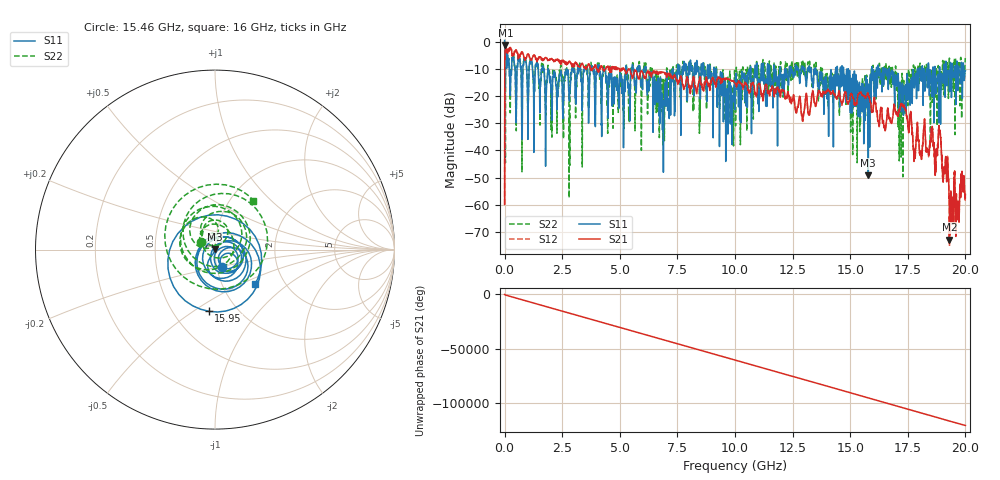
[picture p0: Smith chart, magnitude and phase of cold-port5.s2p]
! MS46122B
! 2250307/22442219
! 2/18/2026 9:30:58 AM
! C:\USERS\SPARKY\DOCUMENTS\VNA_DATA\FEB18_2026\COLD-PORT5.S2P
! CHANNEL.1
! TR.MEASUREMENT
! RAW.DATA
# GHZ S RI R 50.0
! FREQ.GHZ  S11RE  S11IM  S21RE  S21IM  S12RE  S12IM  S22RE  S22IM
!; PortSelection: Port_12
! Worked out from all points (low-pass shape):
!   10001 points, 1 MHz to 20 GHz, reference 50 ohm
!   highest |S21| = -1.28 dB at 33 MHz (marker M1); lowest = -72.7 dB at 19.31 GHz (marker M2)
!   |S21| within 3 dB of the highest: 131.4 MHz to 315.7 MHz (184.4 MHz wide, 82.5 % of centre); 413.3 MHz to 568.1 MHz (154.9 MHz wide, 31.6 % of centre) (the widest 2 of 4)
!   lowest |S11| = -49.1 dB at 15.79 GHz (marker M3), VSWR 1.01, Z = 49.9 + j0.343 ohm
!   |S11| at or under -10 dB: 1.708 GHz to 2.93 GHz (1.222 GHz wide, 52.7 % of centre); 9.185 GHz to 10.67 GHz (1.48 GHz wide, 14.9 % of centre); 16.7 GHz to 17.92 GHz (1.218 GHz wide, 7.04 % of centre) (the widest 3 of 98)
!   |S22| runs from -57.5 to -0.2 dB; largest |S21 - S12| = 0.063
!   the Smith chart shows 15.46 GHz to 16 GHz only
!   S11 on the Smith chart (normalised r, x): 15.46 GHz: 1.07, -0.21; 15.95 GHz: 0.74, -0.58; 16 GHz: 1.43, -0.60
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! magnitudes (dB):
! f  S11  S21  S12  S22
! 1 MHz  0.4  -59.8  -59.9  -0.2
! 33 MHz  -17.0  -1.3  -1.6  -17.5
! 125 MHz  -4.6  -4.3  -4.3  -4.6
! 1.773 GHz  -32.2  -5.9  -5.8  -23.3
! 3.335 GHz  -14.0  -8.3  -8.4  -12.4
! 5.125 GHz  -14.6  -10.1  -10.1  -17.3
! 5.815 GHz  -8.8  -13.6  -13.6  -9.6
! 6.669 GHz  -13.3  -12.1  -12.2  -12.4
! 6.903 GHz  -30.1  -11.3  -11.3  -14.8
! 8.069 GHz  -6.8  -18.4  -18.7  -8.2
! 10 GHz  -25.0  -15.4  -15.1  -13.7
! 13.33 GHz  -14.1  -19.5  -19.8  -16.1
! 15.46 GHz  -19.7  -18.6  -18.5  -21.1
! 15.79 GHz  -49.1  -19.4  -19.4  -18.0
! 15.95 GHz  -9.2  -25.7  -25.8  -12.0
! 16 GHz  -10.6  -24.6  -24.7  -9.2
! 16.67 GHz  -13.8  -27.3  -27.4  -12.8
! 17.21 GHz  -20.0  -23.2  -23.1  -35.9
! 17.78 GHz  -16.9  -40.6  -40.9  -16.7
! 18.88 GHz  -9.2  -32.5  -33.0  -13.4
! 19.31 GHz  -17.7  -72.7  -75.2  -6.1
! 20 GHz  -10.8  -56.2  -57.2  -6.1
